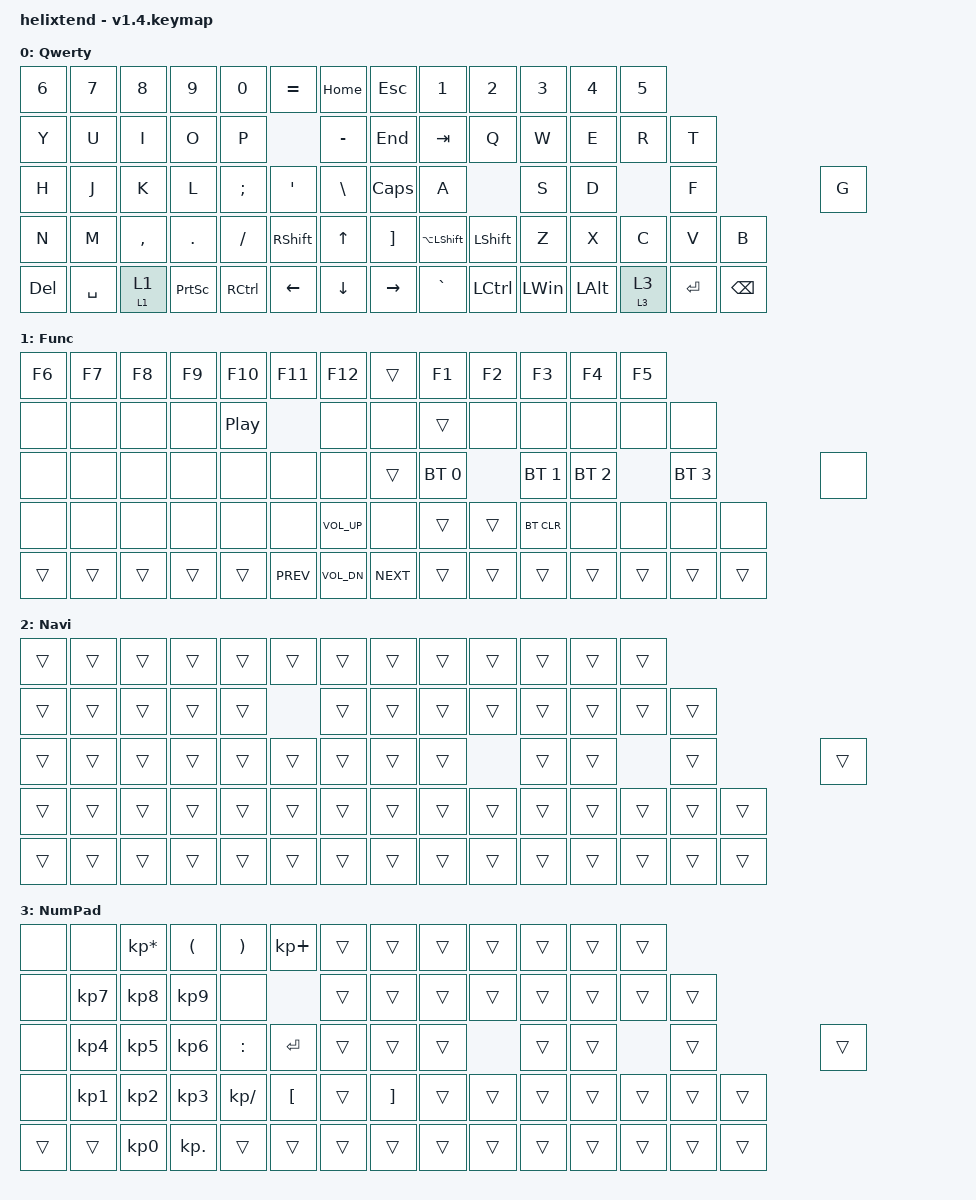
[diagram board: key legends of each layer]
/*
 * Copyright (c) 2020 The ZMK Contributors
 *
 * SPDX-License-Identifier: MIT
 *
 * helixtend - v1.2 - fix numpad layer
 * helixtend - v1.3 - change places between numpad layer button and adjust_layer    
 * v1.3.1 - in numpad moved zero 1 key left to the space button
 * v1.4 - replace places of minus and equal/plus on main and numpad layouts
 */

/* balex version 
v1.4 add language change key instead of square bracket and move square brackets to NUMPAD layers 
v1.5 put arrows on the main layer and adjust the rest accordingly
v1.7.1 remove mod-top on C and V
*/

 #include <behaviors.dtsi>
 #include <dt-bindings/zmk/keys.h>
 #include <dt-bindings/zmk/bt.h>
 #include <dt-bindings/zmk/rgb.h>
 #include <dt-bindings/zmk/ext_power.h>
 #include <dt-bindings/zmk/outputs.h>

 #define DEFAULT 0
 #define LOWER  1
 #define RAISE  2
 #define ADJUST 3

#define MO_TOG(layer) &mo_tog layer layer   // Macro to apply momentary-layer-on-hold/toggle-layer-on-tap to a specific layer


/* NOTE: At the time of the creation of this keymap, there are no specified codes for 'eisuu' and 'kana' input in ZMK.
However, 'LANG1' and 'LANG2' are fully-functioning candidates for 'kana' and 'eisuu' input respectively.
As such, those are in use within the default layer at this time.*/

/ {
    behaviors {
        mo_tog: behavior_mo_tog {
            compatible = "zmk,behavior-hold-tap";
            label = "mo_tog";
            #binding-cells = <2>;
            flavor = "hold-preferred";
            tapping-term-ms = <200>;
            bindings = <&mo>, <&tog>;
        };
    };


       keymap {
              compatible = "zmk,keymap";
              default_layer {

//	N6	N7	N8	N9	N0	EQUAL	HOME				ESC	N1	N2	N3	N4	N5
//	Y	U	I	O	P	MINUS	END				TAB	Q	W	E	R	T
//	H	J	K	L	SEMICOLON	APOSTROPHE	BACKSLASH				CAPS	A	S	D	F	G
//	N	M	COMMA	DOT	SLASH	RSHFT	UP	RIGHT_BRACKET		LA(LSHFT)	LSHFT	Z	X	C	V	B
//	DEL	SPACE	mo_tog 1 1	PSCRN	RCTRL	LEFT	DOWN	RIGHT		GRAVE	LCTRL	LWIN	LALT	mo_tog 3 3	ENTER	BACKSPACE

                     label = "Qwerty";
                     bindings = <
&kp N6	&kp N7	&kp N8	&kp N9	&kp N0	&kp EQUAL	&kp HOME				&kp ESC	&kp N1	&kp N2	&kp N3	&kp N4	&kp N5
&kp Y	&kp U	&kp I	&kp O	&kp P	&kp MINUS	&kp END				&kp TAB	&kp Q	&kp W	&kp E	&kp R	&kp T
&kp H	&kp J	&kp K	&kp L	&kp SEMICOLON	&kp APOSTROPHE	&kp BACKSLASH				&kp CAPS	&kp A	&kp S	&kp D	&kp F	&kp G
&kp N	&kp M	&kp COMMA	&kp DOT	&kp SLASH	&kp RSHFT	&kp UP	&kp RIGHT_BRACKET		&kp LA(LSHFT)	&kp LSHFT	&kp Z	&kp X	&kp C	&kp V	&kp B
&kp DEL	&kp SPACE	&mo_tog 1 1	&kp PSCRN	&kp RCTRL	&kp LEFT	&kp DOWN	&kp RIGHT		&kp GRAVE	&kp LCTRL	&kp LWIN	&kp LALT	&mo_tog 3 3	&kp ENTER	&kp BACKSPACE
                     >;
              };

              lower_layer {

//	F6	F7	F8	F9	F10	F11	F12				TRANS	F1	F2	F3	F4	F5
//					C_PLAY_PAUSE						TRANS					
//											TRANS	BT_SEL 0	BT_SEL 1	BT_SEL 2	BT_SEL 3	
//							C_VOL_UP			TRANS	TRANS	BT_CLR				
//	TRANS	TRANS	TRANS	TRANS	TRANS	C_PREV	C_VOL_DN	C_NEXT		TRANS	TRANS	TRANS	TRANS	TRANS	TRANS	TRANS

                     label = "Func";
                     bindings = <
&kp F6	&kp F7	&kp F8	&kp F9	&kp F10	&kp F11	&kp F12				&trans	&kp F1	&kp F2	&kp F3	&kp F4	&kp F5
&none	&none	&none	&none	&kp C_PLAY_PAUSE	&none	&none				&trans	&none	&none	&none	&none	&none
&none	&none	&none	&none	&none	&none	&none				&trans	&bt BT_SEL 0	&bt BT_SEL 1	&bt BT_SEL 2	&bt BT_SEL 3	&none
&none	&none	&none	&none	&none	&none	&kp C_VOL_UP	&none		&trans	&trans	&bt BT_CLR	&none	&none	&none	&none
&trans	&trans	&trans	&trans	&trans	&kp C_PREV	&kp C_VOL_DN	&kp C_NEXT		&trans	&trans	&trans	&trans	&trans	&trans	&trans
                     >;
              };
              raise_layer {

//	TRANS	TRANS	TRANS	TRANS	TRANS	TRANS	TRANS				TRANS	TRANS	TRANS	TRANS	TRANS	TRANS
//	TRANS	TRANS	TRANS	TRANS	TRANS	TRANS	TRANS				TRANS	TRANS	TRANS	TRANS	TRANS	TRANS
//	TRANS	TRANS	TRANS	TRANS	TRANS	TRANS	TRANS				TRANS	TRANS	TRANS	TRANS	TRANS	TRANS
//	TRANS	TRANS	TRANS	TRANS	TRANS	TRANS	TRANS	TRANS		TRANS	TRANS	TRANS	TRANS	TRANS	TRANS	TRANS
//	TRANS	TRANS	TRANS	TRANS	TRANS	TRANS	TRANS	TRANS		TRANS	TRANS	TRANS	TRANS	TRANS	TRANS	TRANS

                    label = "Navi";
                     bindings = <
&trans	&trans	&trans	&trans	&trans	&trans	&trans				&trans	&trans	&trans	&trans	&trans	&trans
&trans	&trans	&trans	&trans	&trans	&trans	&trans				&trans	&trans	&trans	&trans	&trans	&trans
&trans	&trans	&trans	&trans	&trans	&trans	&trans				&trans	&trans	&trans	&trans	&trans	&trans
&trans	&trans	&trans	&trans	&trans	&trans	&trans	&trans		&trans	&trans	&trans	&trans	&trans	&trans	&trans
&trans	&trans	&trans	&trans	&trans	&trans	&trans	&trans		&trans	&trans	&trans	&trans	&trans	&trans	&trans
                     >;
              };
              adjust_layer {

//			KP_MULTIPLY	LPAR	RPAR	KP_PLUS	TRANS				TRANS	TRANS	TRANS	TRANS	TRANS	TRANS
//		KP_N7	KP_N8	KP_N9		TRANS	TRANS				TRANS	TRANS	TRANS	TRANS	TRANS	TRANS
//		KP_N4	KP_N5	KP_N6	COLON	ENTER	TRANS				TRANS	TRANS	TRANS	TRANS	TRANS	TRANS
//		KP_N1	KP_N2	KP_N3	KP_DIVIDE	LEFT_BRACKET	TRANS	RIGHT_BRACKET		TRANS	TRANS	TRANS	TRANS	TRANS	TRANS	TRANS
//	TRANS	TRANS	KP_N0	KP_DOT	TRANS	TRANS	TRANS	TRANS		TRANS	TRANS	TRANS	TRANS	TRANS	TRANS	TRANS

                     label = "NumPad";
                     bindings = <
&none	&none	&kp KP_MULTIPLY	&kp LPAR	&kp RPAR	&kp KP_PLUS	&trans				&trans	&trans	&trans	&trans	&trans	&trans
&none	&kp KP_N7	&kp KP_N8	&kp KP_N9	&none	&trans	&trans				&trans	&trans	&trans	&trans	&trans	&trans
&none	&kp KP_N4	&kp KP_N5	&kp KP_N6	&kp COLON	&kp ENTER	&trans				&trans	&trans	&trans	&trans	&trans	&trans
&none	&kp KP_N1	&kp KP_N2	&kp KP_N3	&kp KP_DIVIDE	&kp LEFT_BRACKET	&trans	&kp RIGHT_BRACKET		&trans	&trans	&trans	&trans	&trans	&trans	&trans
&trans	&trans	&kp KP_N0	&kp KP_DOT	&trans	&trans	&trans	&trans		&trans	&trans	&trans	&trans	&trans	&trans	&trans
                     >;
              };
       };
};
